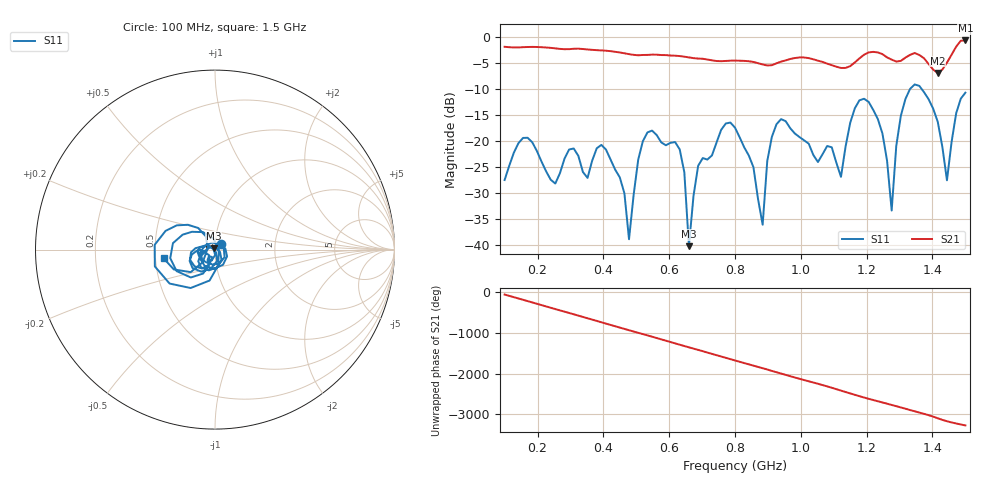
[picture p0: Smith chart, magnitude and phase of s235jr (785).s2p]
! NanoVNA-App
! Date: 2025-09-25 15:10:17
! Start: 100MHz Stop: 1,5GHz Points: 101
! S-Parameter data: F S11 S21 S12 S22
# Hz S RI R 50
!  Frequency  S11_Real  S11_Imag  S21_Real  S21_Imag  S12_Real  S12_Imag  S22_Real  S22_Imag
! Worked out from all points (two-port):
!   101 points, 100 MHz to 1.5 GHz, reference 50 ohm
!   highest |S21| = -0.75 dB at 1.5 GHz (marker M1); lowest = -7.0 dB at 1.416 GHz (marker M2)
!   |S21| within 3 dB of the highest: start of sweep to 633.3 MHz; 1.187 GHz to 1.257 GHz (69.73 MHz wide, 5.71 % of centre) (the widest 2 of 4)
!   lowest |S11| = -40.1 dB at 660 MHz (marker M3), VSWR 1.02, Z = 49.2 + j0.604 ohm
!   |S11| at or under -10 dB: start of sweep to 1.332 GHz; 1.367 GHz to end of sweep
!   S12 and S22 are empty: the file has one direction only
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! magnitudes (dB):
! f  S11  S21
! 100 MHz  -27.5  -2.0
! 156 MHz  -19.4  -2.0
! 338 MHz  -25.9  -2.4
! 408 MHz  -21.6  -2.7
! 478 MHz  -38.8  -3.4
! 520 MHz  -20.0  -3.5
! 576 MHz  -20.3  -3.5
! 632 MHz  -21.6  -3.7
! 660 MHz  -40.1  -4.0
! 688 MHz  -24.7  -4.2
! 800 MHz  -17.4  -4.6
! 884 MHz  -36.0  -5.3
! 926 MHz  -16.8  -5.1
! 1.038 GHz  -22.7  -4.4
! 1.122 GHz  -26.9  -6.0
! 1.206 GHz  -12.5  -3.0
! 1.276 GHz  -33.3  -4.4
! 1.29 GHz  -20.9  -4.8
! 1.332 GHz  -10.0  -3.5
! 1.416 GHz  -16.3  -7.0
! 1.444 GHz  -27.5  -5.0
! 1.5 GHz  -10.7  -0.7
